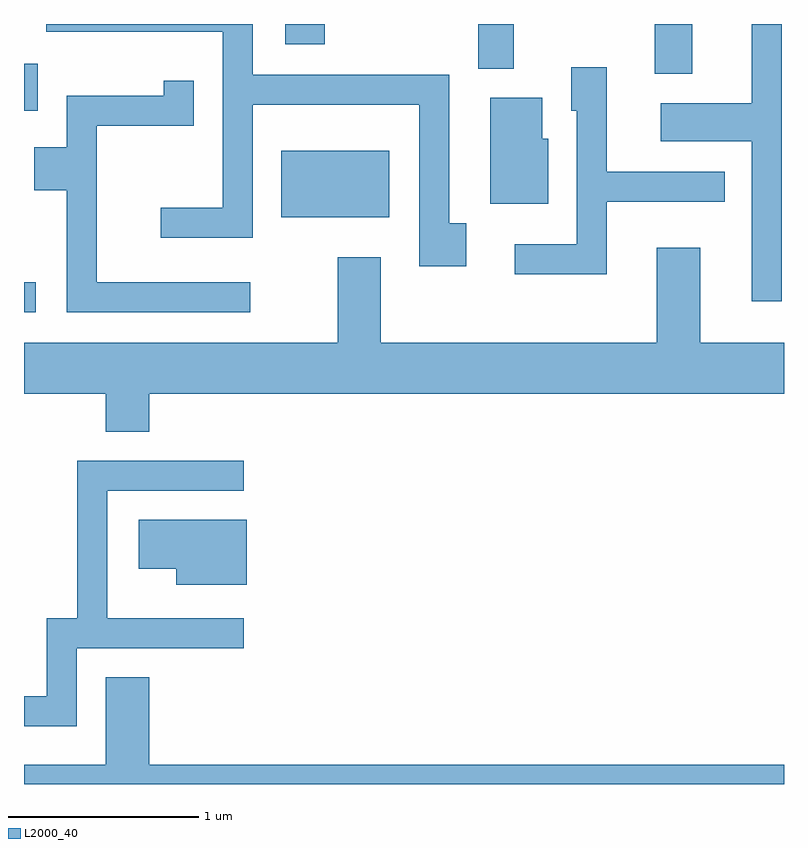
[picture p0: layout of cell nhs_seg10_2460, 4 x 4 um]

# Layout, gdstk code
import gdstk
lib = gdstk.Library(unit=1e-6, precision=1e-09)
def R(c, l, rs):  # rectangles x0, y0, x1, y1
    for r in rs: c.add(gdstk.rectangle(r[:2], r[2:], *l))
def P(c, l, *ps):  # polygons
    for p in ps: c.add(gdstk.Polygon(p, *l))
L2000_40 = (2000, 40)

nhs_seg10_2460 = lib.new_cell('nhs_seg10_2460')
R(nhs_seg10_2460, L2000_40, [(257.611,2121.006,257.673,2121.164), (258.966,2121.506,259.534,2121.854), (257.611,2122.066,257.684,2122.314), (260.931,2122.261,261.129,2122.522), (260.001,2122.286,260.189,2122.522), (258.986,2122.416,259.194,2122.522)])
P(nhs_seg10_2460, L2000_40, [(259.939,2121.474),(259.849,2121.474),(259.849,2122.254),(258.814,2122.254),(258.814,2122.522),(257.728,2122.522),(257.728,2122.481),(258.656,2122.481),(258.656,2121.554),(258.332,2121.554),(258.332,2121.396),(258.814,2121.396),(258.814,2122.096),(259.691,2122.096),(259.691,2121.246),(259.939,2121.246)],
  [(261.599,2122.522),(261.441,2122.522),(261.441,2122.104),(260.961,2122.104),(260.961,2121.906),(261.441,2121.906),(261.441,2121.063),(261.599,2121.063)],
  [(260.679,2121.586),(261.298,2121.586),(261.298,2121.744),(260.679,2121.744),(260.679,2122.294),(260.491,2122.294),(260.491,2122.066),(260.521,2122.066),(260.521,2121.364),(260.193,2121.364),(260.193,2121.206),(260.679,2121.206)],
  [(258.803,2121.164),(257.994,2121.164),(257.994,2121.986),(258.504,2121.986),(258.504,2122.223),(258.346,2122.223),(258.346,2122.144),(257.836,2122.144),(257.836,2121.874),(257.666,2121.874),(257.666,2121.646),(257.836,2121.646),(257.836,2121.006),(258.803,2121.006)],
  [(260.369,2121.919),(260.339,2121.919),(260.339,2122.134),(260.066,2122.134),(260.066,2121.576),(260.369,2121.576)],
  [(258.269,2120.576),(261.611,2120.576),(261.611,2120.844),(261.169,2120.844),(261.169,2121.344),(260.941,2121.344),(260.941,2120.844),(259.489,2120.844),(259.489,2121.294),(259.261,2121.294),(259.261,2120.844),(257.611,2120.844),(257.611,2120.576),(258.041,2120.576),(258.041,2120.376),(258.269,2120.376)],
  [(257.889,2119.236),(258.767,2119.236),(258.767,2119.394),(258.049,2119.394),(258.049,2120.066),(258.767,2120.066),(258.767,2120.224),(257.891,2120.224),(257.891,2119.394),(257.731,2119.394),(257.731,2118.984),(257.611,2118.984),(257.611,2118.826),(257.889,2118.826)],
  [(258.784,2119.914),(258.216,2119.914),(258.216,2119.656),(258.411,2119.656),(258.411,2119.571),(258.784,2119.571)],
  [(261.611,2118.624),(258.269,2118.624),(258.269,2119.084),(258.041,2119.084),(258.041,2118.624),(257.611,2118.624),(257.611,2118.522),(261.611,2118.522)])

lib.write_gds('nhs_seg10_2460.gds')
